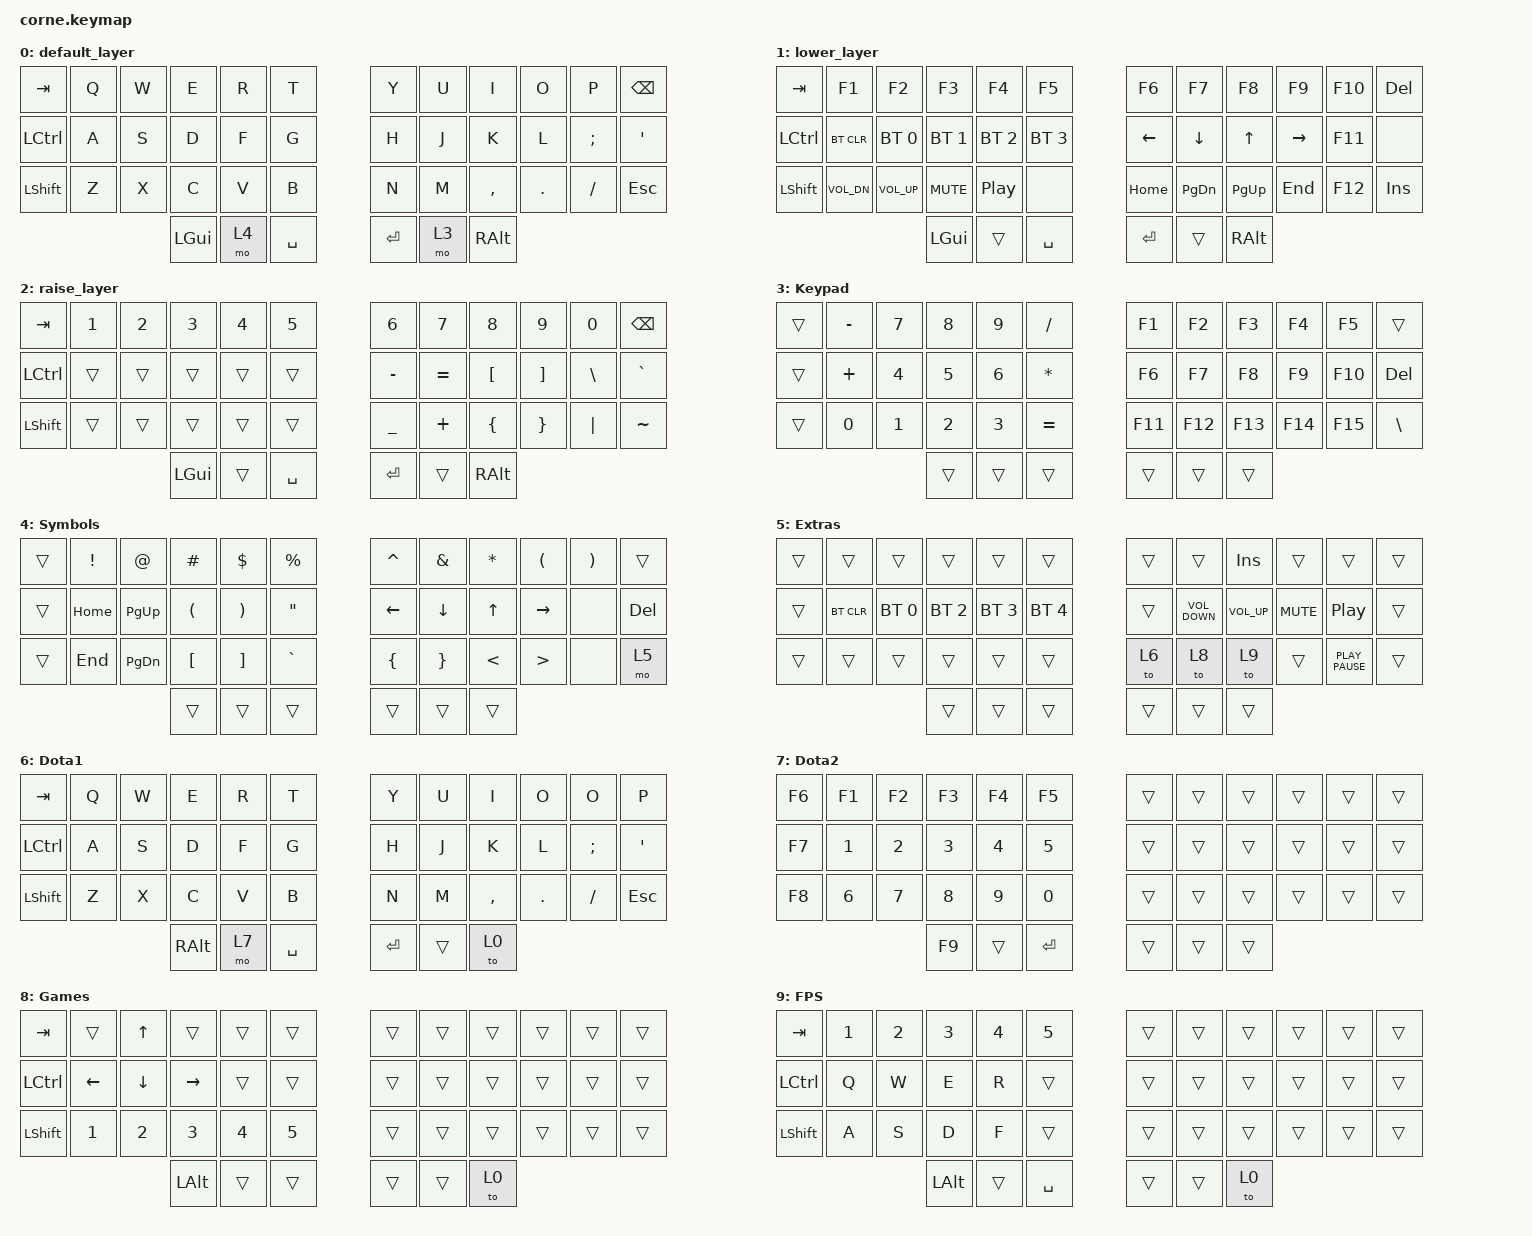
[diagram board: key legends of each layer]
/*
 * Copyright (c) 2020 The ZMK Contributors
 *
 * SPDX-License-Identifier: MIT
 */

#include <behaviors.dtsi>
#include <dt-bindings/zmk/bt.h>
#include <dt-bindings/zmk/keys.h>

/ {
    keymap {
        compatible = "zmk,keymap";

        default_layer {
            // -----------------------------------------------------------------------------------------
            // |  TAB |  Q  |  W  |  E  |  R  |  T  |   |  Y  |  U   |  I  |  O  |  P  | BKSP |
            // | CTRL |  A  |  S  |  D  |  F  |  G  |   |  H  |  J   |  K  |  L  |  ;  |  '   |
            // | SHFT |  Z  |  X  |  C  |  V  |  B  |   |  N  |  M   |  ,  |  .  |  /  | ESC  |
            //                    | GUI | LWR | SPC |   | ENT | RSE  | ALT |

            bindings = <
&kp TAB    &kp Q  &kp W  &kp E     &kp R  &kp T        &kp Y    &kp U  &kp I      &kp O    &kp P     &kp BSPC
&kp LCTRL  &kp A  &kp S  &kp D     &kp F  &kp G        &kp H    &kp J  &kp K      &kp L    &kp SEMI  &kp SQT
&kp LSHFT  &kp Z  &kp X  &kp C     &kp V  &kp B        &kp N    &kp M  &kp COMMA  &kp DOT  &kp FSLH  &kp ESC
                         &kp LGUI  &mo 4  &kp SPACE    &kp RET  &mo 3  &kp RALT
            >;
        };

        lower_layer {
            // -----------------------------------------------------------------------------------------
            // | TAB  | F1     | F2     | F3   | F4   | F5  |   | F6  | F7    |  F8     | F9     | F10    |  DEL  |
            // | CTRL | BTCLR  | BT1    | BT2  | BT3  | BT4 |   | LFT | DWN   |  UP     | RGT    |  F11   |       |
            // | SHFT | VOLDWN | VOLUP  | MUTE | PLAY |     |   | HOME| PGDWN | PGUP    | END    |  F12   | INS   |
            //                    | GUI |     | SPC |   | ENT |       | ALT     |

            bindings = <
&kp TAB    &kp F1        &kp F2        &kp F3        &kp F4        &kp F5          &kp F6    &kp F7     &kp F8     &kp F9     &kp F10  &kp DEL
&kp LCTRL  &bt BT_CLR    &bt BT_SEL 0  &bt BT_SEL 1  &bt BT_SEL 2  &bt BT_SEL 3    &kp LEFT  &kp DOWN   &kp UP     &kp RIGHT  &kp F11  &none
&kp LSHFT  &kp C_VOL_DN  &kp C_VOL_UP  &kp C_MUTE    &kp C_PP      &none           &kp HOME  &kp PG_DN  &kp PG_UP  &kp END    &kp F12  &kp INS
                                       &kp LGUI      &trans        &kp SPACE       &kp RET   &trans     &kp RALT
            >;
        };

        raise_layer {
            // -----------------------------------------------------------------------------------------
            // |  TAB |  1  |  2  |  3  |  4  |  5  |   |  6  |  7  |  8  |  9  |  0  | BKSP |
            // | CTRL |     |     |     |     |     |   |  -  |  =  |  [  |  ]  |  \  |  `   |
            // | SHFT |     |     |     |     |     |   |  _  |  +  |  {  |  }  | "|" |  ~   |
            //                    | GUI |     | SPC |   | ENT |     | ALT |

            bindings = <
&kp TAB    &kp N1  &kp N2  &kp N3    &kp N4  &kp N5       &kp N6     &kp N7     &kp N8    &kp N9    &kp N0    &kp BSPC
&kp LCTRL  &trans  &trans  &trans    &trans  &trans       &kp MINUS  &kp EQUAL  &kp LBKT  &kp RBKT  &kp BSLH  &kp GRAVE
&kp LSHFT  &trans  &trans  &trans    &trans  &trans       &kp UNDER  &kp PLUS   &kp LBRC  &kp RBRC  &kp PIPE  &kp TILDE
                           &kp LGUI  &trans  &kp SPACE    &kp RET    &trans     &kp RALT
            >;
        };

        Keypad {
            bindings = <
&trans  &kp MINUS  &kp N7  &kp N8  &kp N9  &kp SLASH       &kp F1   &kp F2   &kp F3   &kp F4   &kp F5   &trans
&trans  &kp PLUS   &kp N4  &kp N5  &kp N6  &kp ASTERISK    &kp F6   &kp F7   &kp F8   &kp F9   &kp F10  &kp DELETE
&trans  &kp N0     &kp N1  &kp N2  &kp N3  &kp EQUAL       &kp F11  &kp F12  &kp F13  &kp F14  &kp F15  &kp BACKSLASH
                           &trans  &trans  &trans          &trans   &trans   &trans
            >;

            label = "Keypad";
        };

        Symbols {
            bindings = <
&trans  &kp EXCLAMATION  &kp AT_SIGN    &kp HASH              &kp DOLLAR             &kp PERCENT          &kp CARET       &kp AMPERSAND    &kp ASTERISK   &kp LEFT_PARENTHESIS  &kp RIGHT_PARENTHESIS  &trans
&trans  &kp HOME         &kp PG_UP      &kp LEFT_PARENTHESIS  &kp RIGHT_PARENTHESIS  &kp DOUBLE_QUOTES    &kp LEFT        &kp DOWN         &kp UP         &kp RIGHT             &none                  &kp DEL
&trans  &kp END          &kp PAGE_DOWN  &kp LEFT_BRACKET      &kp RIGHT_BRACKET      &kp GRAVE            &kp LEFT_BRACE  &kp RIGHT_BRACE  &kp LESS_THAN  &kp GREATER_THAN      &none                  &mo 5
                                        &trans                &trans                 &trans               &trans          &trans           &trans
            >;

            label = "Symbols";
        };

        Extras {
            bindings = <
&trans  &trans      &trans        &trans        &trans        &trans          &trans  &trans             &kp INS          &trans      &trans            &trans
&trans  &bt BT_CLR  &bt BT_SEL 0  &bt BT_SEL 2  &bt BT_SEL 3  &bt BT_SEL 4    &trans  &kp C_VOLUME_DOWN  &kp C_VOLUME_UP  &kp K_MUTE  &kp C_PLAY_PAUSE  &trans
&trans  &trans      &trans        &trans        &trans        &trans          &to 6   &to 8              &to 9            &trans      &kp K_PLAY_PAUSE  &trans
                                  &trans        &trans        &trans          &trans  &trans             &trans
            >;
        };

        Dota1 {
            bindings = <
&kp TAB    &kp Q  &kp W  &kp E     &kp R  &kp T        &kp Y    &kp U   &kp I      &kp O    &kp O     &kp P
&kp LCTRL  &kp A  &kp S  &kp D     &kp F  &kp G        &kp H    &kp J   &kp K      &kp L    &kp SEMI  &kp SQT
&kp LSHFT  &kp Z  &kp X  &kp C     &kp V  &kp B        &kp N    &kp M   &kp COMMA  &kp DOT  &kp FSLH  &kp ESC
                         &kp RALT  &mo 7  &kp SPACE    &kp RET  &trans  &to 0
            >;
        };

        Dota2 {
            bindings = <
&kp F6  &kp F1  &kp F2  &kp F3  &kp F4  &kp F5     &trans  &trans  &trans  &trans  &trans  &trans
&kp F7  &kp N1  &kp N2  &kp N3  &kp N4  &kp N5     &trans  &trans  &trans  &trans  &trans  &trans
&kp F8  &kp N6  &kp N7  &kp N8  &kp N9  &kp N0     &trans  &trans  &trans  &trans  &trans  &trans
                        &kp F9  &trans  &kp RET    &trans  &trans  &trans
            >;
        };

        Games {
            bindings = <
&kp TAB    &trans    &kp UP    &trans     &trans  &trans    &trans  &trans  &trans  &trans  &trans  &trans
&kp LCTRL  &kp LEFT  &kp DOWN  &kp RIGHT  &trans  &trans    &trans  &trans  &trans  &trans  &trans  &trans
&kp LSHFT  &kp N1    &kp N2    &kp N3     &kp N4  &kp N5    &trans  &trans  &trans  &trans  &trans  &trans
                               &kp LALT   &trans  &trans    &trans  &trans  &to 0
            >;
        };

        FPS {
            bindings = <
&kp TAB    &kp N1  &kp N2  &kp N3    &kp N4  &kp N5       &trans  &trans  &trans  &trans  &trans  &trans
&kp LCTRL  &kp Q   &kp W   &kp E     &kp R   &trans       &trans  &trans  &trans  &trans  &trans  &trans
&kp LSHFT  &kp A   &kp S   &kp D     &kp F   &trans       &trans  &trans  &trans  &trans  &trans  &trans
                           &kp LALT  &trans  &kp SPACE    &trans  &trans  &to 0
            >;
        };
    };
};
